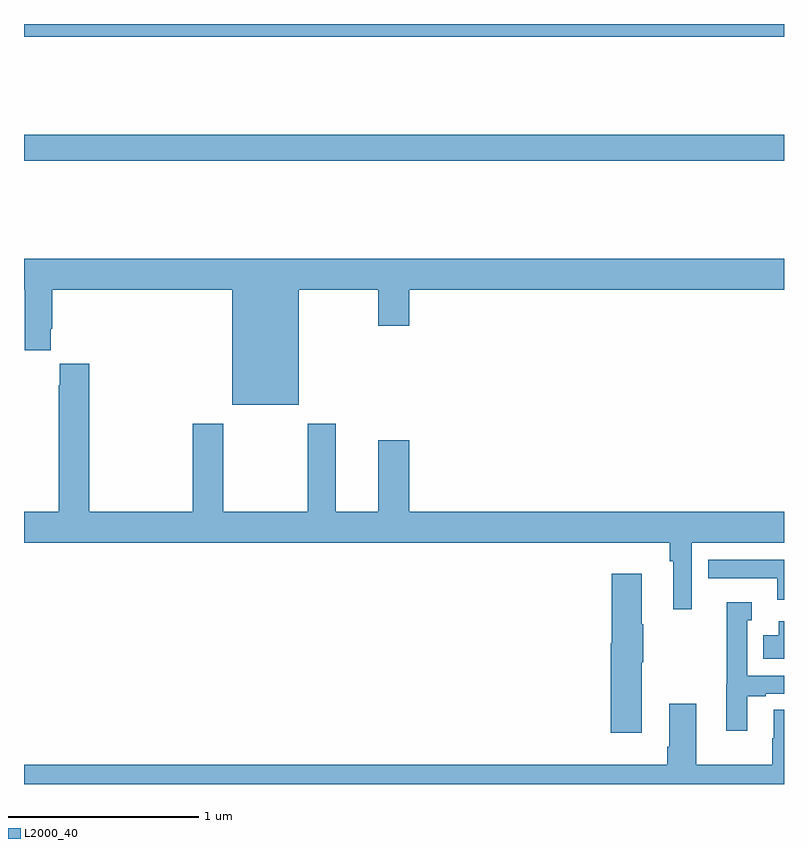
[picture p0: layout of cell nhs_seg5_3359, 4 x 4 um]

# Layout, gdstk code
import gdstk
lib = gdstk.Library(unit=1e-6, precision=1e-09)
def R(c, l, rs):  # rectangles x0, y0, x1, y1
    for r in rs: c.add(gdstk.rectangle(r[:2], r[2:], *l))
def P(c, l, *ps):  # polygons
    for p in ps: c.add(gdstk.Polygon(p, *l))
L2000_40 = (2000, 40)

nhs_seg5_3359 = lib.new_cell('nhs_seg5_3359')
R(nhs_seg5_3359, L2000_40, [(307,884.08,311,884.216), (307,884.732,311,884.799)])
P(nhs_seg5_3359, L2000_40, [(308.446,883.4),(308.864,883.4),(308.864,883.212),(309.028,883.212),(309.028,883.4),(311,883.4),(311,883.564),(307,883.564),(307,883.4),(307.004,883.4),(307.004,883.083),(307.141,883.083),(307.141,883.195),(307.148,883.195),(307.148,883.4),(308.096,883.4),(308.096,882.794),(308.446,882.794)],
  [(310.515,882.068),(311,882.068),(311,882.232),(309.028,882.232),(309.028,882.607),(308.864,882.607),(308.864,882.232),(308.641,882.232),(308.641,882.694),(308.494,882.694),(308.494,882.232),(308.049,882.232),(308.049,882.694),(307.889,882.694),(307.889,882.232),(307.343,882.232),(307.343,883.012),(307.187,883.012),(307.187,882.899),(307.183,882.899),(307.183,882.232),(307,882.232),(307,882.068),(310.399,882.068),(310.399,881.972),(310.418,881.972),(310.418,881.718),(310.515,881.718)],
  [(311,881.979),(310.6,881.979),(310.6,881.883),(310.964,881.883),(310.964,881.768),(311,881.768)],
  [(310.252,881.441),(310.26,881.441),(310.26,881.641),(310.252,881.641),(310.252,881.905),(310.094,881.905),(310.094,881.541),(310.088,881.541),(310.088,881.07),(310.252,881.07)],
  [(310.807,881.262),(310.903,881.262),(310.903,881.274),(311,881.274),(311,881.37),(310.806,881.37),(310.806,881.661),(310.831,881.661),(310.831,881.755),(310.698,881.755),(310.698,881.323),(310.697,881.323),(310.697,881.079),(310.807,881.079)],
  [(311,881.656),(310.973,881.656),(310.973,881.581),(310.891,881.581),(310.891,881.459),(311,881.459)],
  [(311,881.189),(310.946,881.189),(310.946,881.039),(310.939,881.039),(310.939,880.9),(310.537,880.9),(310.537,881.221),(310.397,881.221),(310.397,880.996),(310.385,880.996),(310.385,880.9),(307,880.9),(307,880.799),(311,880.799)])

lib.write_gds('nhs_seg5_3359.gds')
